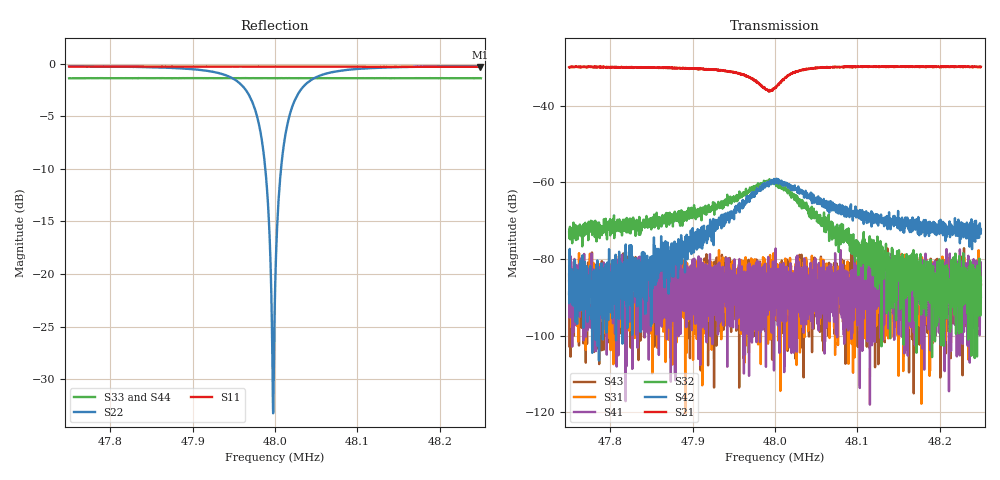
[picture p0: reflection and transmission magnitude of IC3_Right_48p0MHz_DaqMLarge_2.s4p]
#  HZ  S  DB  R  50.00
! Rohde & Schwarz Vector Network Analyzer
! Rohde-Schwarz,ZNB8-4Port,1311601044102961,2.82
! Created: UTC 2/12/2019, 1:54:33 PM
! freq[Hz]  db:S11  ang:S11  db:S12  ang:S12  db:S13  ang:S13  db:S14  ang:S14
!  db:S21  ang:S21  db:S22  ang:S22  db:S23  ang:S23  db:S24  ang:S24
!  db:S31  ang:S31  db:S32  ang:S32  db:S33  ang:S33  db:S34  ang:S34
!  db:S41  ang:S41  db:S42  ang:S42  db:S43  ang:S43  db:S44  ang:S44
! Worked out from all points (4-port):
!   2001 points, 47.75 MHz to 48.25 MHz, reference 50 ohm
!   strongest paths, dB at 47.75 MHz, 47.875 MHz, 48 MHz, 48.125 MHz, 48.25 MHz:
!     S21: -30.0, -30.2, -35.4, -29.8, -29.9
!     S42: -88.8, -80.6, -59.9, -70.0, -72.6
!     S32: -73.0, -68.4, -59.8, -81.2, -89.9
!     S41: -89.1, -93.7, -82.9, -87.0, -85.6
!     S31: -85.8, -85.6, -91.6, -88.0, -86.7
!     S43: -84.1, -94.9, -96.0, -87.7, -86.7
!   lowest |S11| = -0.3 dB at 48.249 MHz (marker M1), VSWR 54.37, Z = 1.37 - j35 ohm
!   |S11| at or under -10 dB: nowhere
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4.775e7  -0.29 -99.8  -29.86 -139.2  -83.40 145.0  -87.63 95.0
         -29.99 -139.3  -0.27 1.5  -72.52 -35.4  -82.82 -178.1
         -85.78 -0.2  -73.03 -49.2  -1.41 122.9  -93.07 -135.1
         -89.12 -143.4  -88.76 -29.7  -84.06 -117.1  -1.41 130.5
4.7964e7  -0.29 -104.1  -32.13 -158.8  -81.45 165.6  -108.12 -159.5
          -32.16 -158.7  -2.46 -42.1  -62.74 -66.9  -65.46 110.8
          -86.05 34.3  -63.42 -67.0  -1.39 120.3  -88.84 31.9
          -85.42 85.2  -64.89 108.5  -82.09 -106.1  -1.40 127.8
4.799775e7  -0.30 -104.8  -35.74 -130.8  -91.60 -46.0  -92.93 175.2
            -35.65 -130.9  -33.23 178.8  -59.82 -123.0  -60.12 64.9
            -84.67 55.5  -59.79 -120.5  -1.40 119.9  -93.96 120.7
            -93.59 53.3  -59.81 55.8  -86.02 175.5  -1.40 127.3
4.800875e7  -0.30 -105.1  -33.49 -121.3  -90.00 65.3  -86.23 -34.2
            -33.45 -120.0  -8.94 68.3  -61.07 -141.5  -59.87 33.7
            -86.10 -157.1  -60.65 -142.5  -1.39 119.8  -82.18 168.1
            -92.27 117.5  -60.80 37.6  -99.37 -11.4  -1.40 127.2
4.803175e7  -0.30 -105.5  -30.80 -126.3  -84.44 69.4  -88.81 -155.6
            -30.79 -125.9  -2.45 36.0  -66.35 -171.3  -62.99 3.8
            -90.71 112.5  -65.18 -169.0  -1.40 119.5  -97.73 -91.3
            -96.96 87.2  -62.55 -1.6  -86.81 85.0  -1.40 127.0
4.8249e7  -0.32 -110.0  -29.87 -148.8  -87.49 -129.1  -89.52 -66.3
          -29.90 -149.3  -0.25 -7.3  -88.72 -140.2  -73.92 -36.7
          -81.61 145.3  -83.55 -0.9  -1.39 116.8  -89.36 113.1
          -86.99 -144.3  -72.89 -23.5  -89.85 -2.8  -1.40 124.3
4.825e7  -0.32 -110.0  -29.94 -149.3  -84.33 -97.5  -98.57 160.8
         -29.88 -149.3  -0.26 -7.3  -100.45 -19.4  -74.77 -35.1
         -86.69 -30.7  -89.92 117.9  -1.40 116.8  -87.74 11.8
         -85.63 -0.0  -72.63 -32.5  -86.72 -85.7  -1.40 124.2
